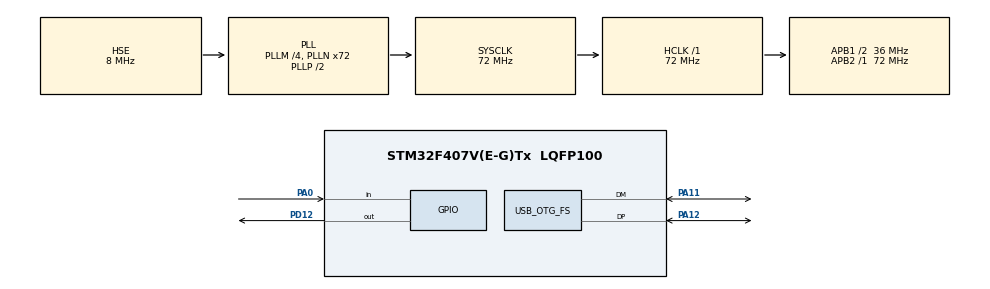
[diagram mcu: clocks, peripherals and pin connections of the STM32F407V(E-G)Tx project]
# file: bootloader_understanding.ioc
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Mcu.Family=STM32F4
Mcu.Name=STM32F407V(E-G)Tx
Mcu.Package=LQFP100
NVIC.OTG_FS_IRQn=true\:0\:0\:false\:false\:true\:false\:true\:true
NVIC.PriorityGroup=NVIC_PRIORITYGROUP_0
PA0-WKUP.Signal=GPIO_Input
PA11.Mode=Device_Only
PA11.Signal=USB_OTG_FS_DM
PA12.Mode=Device_Only
PA12.Signal=USB_OTG_FS_DP
PD12.Signal=GPIO_Output
PH0-OSC_IN.Mode=HSE-External-Oscillator
PH0-OSC_IN.Signal=RCC_OSC_IN
PH1-OSC_OUT.Mode=HSE-External-Oscillator
PH1-OSC_OUT.Signal=RCC_OSC_OUT
ProjectManager.HeapSize=0x200
ProjectManager.StackSize=0x400
ProjectManager.TargetToolchain=STM32CubeIDE
RCC.48MHZClocksFreq_Value=48000000
RCC.AHBFreq_Value=72000000
RCC.APB1CLKDivider=RCC_HCLK_DIV2
RCC.APB1Freq_Value=36000000
RCC.APB1TimFreq_Value=72000000
RCC.APB2Freq_Value=72000000
RCC.APB2TimFreq_Value=72000000
RCC.CortexFreq_Value=72000000
RCC.HCLKFreq_Value=72000000
RCC.HSE_VALUE=8000000
RCC.HSI_VALUE=16000000
RCC.LSE_VALUE=32768
RCC.PLLM=4
RCC.PLLN=72
RCC.PLLQ=3
RCC.SYSCLKFreq_VALUE=72000000
RCC.SYSCLKSource=RCC_SYSCLKSOURCE_PLLCLK
RCC.VCOOutputFreq_Value=144000000
USB_DEVICE.CLASS_NAME_FS=CDC
USB_DEVICE.VirtualMode-CDC_FS=Cdc
USB_DEVICE.VirtualModeFS=Cdc_FS
USB_OTG_FS.VirtualMode=Device_Only
VP_USB_DEVICE_VS_USB_DEVICE_CDC_FS.Mode=CDC_FS
board=STM32F407G-DISC1

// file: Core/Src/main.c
/* USER CODE BEGIN Header */
/**
  ******************************************************************************
  * @file           : main.c
  * @brief          : Main program body
  ******************************************************************************
  * @attention
  *
  * Copyright (c) 2025 STMicroelectronics.
  * All rights reserved.
  *
  * This software is licensed under terms that can be found in the LICENSE file
  * in the root directory of this software component.
  * If no LICENSE file comes with this software, it is provided AS-IS.
  *
  ******************************************************************************
  */
/* USER CODE END Header */
#include "main.h"
#include "usb_device.h"

/* USER CODE BEGIN Includes */
#include "usbd_cdc_if.h"
#include "string.h"
#include "stdio.h"
#include "stdint.h"
#include "etx_ota_update.h"

/* USER CODE END Includes */

/* USER CODE BEGIN PV */
uint8_t rx_buffer[1050];
volatile int flag = 0;
uint8_t len;
extern USBD_HandleTypeDef hUsbDeviceFS;
/* USER CODE END PV */

void SystemClock_Config(void);
static void MX_GPIO_Init(void);
/* USER CODE BEGIN PFP */
static void goto_application(void);
/* USER CODE END PFP */

/* USER CODE BEGIN 0 */
int _write(int file, char *ptr, int len)
{
  /* Implement your write code here, this is used by puts and printf for example */
  int i=0;
  for(i=0 ; i<len ; i++)
    ITM_SendChar((*ptr++));
  return len;
}
/* USER CODE END 0 */

int main(void)
{

  /* MCU Configuration--------------------------------------------------------*/

  /* Reset of all peripherals, Initializes the Flash interface and the Systick. */
  HAL_Init();

  /* Configure the system clock */
  SystemClock_Config();

  /* Initialize all configured peripherals */
  MX_GPIO_Init();
  MX_USB_DEVICE_Init();
  /* USER CODE BEGIN 2 */
  printf("Lets see this from bootloader\n");
  HAL_GPIO_WritePin(GPIOD, GPIO_PIN_12, GPIO_PIN_SET);
  HAL_Delay(2000);
  HAL_GPIO_WritePin(GPIOD, GPIO_PIN_12, GPIO_PIN_RESET);
  HAL_Delay(2000);

  /* Check the GPIO for 3 seconds */
    GPIO_PinState OTA_Pin_state;
    uint32_t end_tick = HAL_GetTick() + 3000;   // from now to 3 Seconds

    printf("Press the User Button PA0 to trigger OTA update...\r\n");
    do
    {
      OTA_Pin_state = HAL_GPIO_ReadPin( GPIOA, GPIO_PIN_0 );
      uint32_t current_tick = HAL_GetTick();

      /* Check the button is pressed or not for 3seconds */
      if( ( OTA_Pin_state != GPIO_PIN_RESET ) || ( current_tick > end_tick ) )
      {
        /* Either timeout or Button is pressed */
        break;
      }
    }while( 1 );

    /*Start the Firmware or Application update */
     if( OTA_Pin_state == GPIO_PIN_SET )
     {
       printf("Starting Firmware Download!!!\r\n");
       /* OTA Request. Receive the data from the UART4 and flash */
       if( etx_ota_download_and_flash() != ETX_OTA_EX_OK )
       {
         /* Error. Don't process. */
         printf("OTA Update : ERROR!!! HALT!!!\r\n");
         while( 1 );
       }
       else
       {
         /* Reset to load the new application */
         printf("Firmware update is done!!! Rebooting...\r\n");
         HAL_NVIC_SystemReset();
       }
     }

  goto_application();
  /* USER CODE END 2 */

  /* Infinite loop */
  while (1)
  {

  }
}

void SystemClock_Config(void)
{
  RCC_OscInitTypeDef RCC_OscInitStruct = {0};
  RCC_ClkInitTypeDef RCC_ClkInitStruct = {0};

  /** Configure the main internal regulator output voltage
  */
  __HAL_RCC_PWR_CLK_ENABLE();
  __HAL_PWR_VOLTAGESCALING_CONFIG(PWR_REGULATOR_VOLTAGE_SCALE1);

  /** Initializes the RCC Oscillators according to the specified parameters
  * in the RCC_OscInitTypeDef structure.
  */
  RCC_OscInitStruct.OscillatorType = RCC_OSCILLATORTYPE_HSE;
  RCC_OscInitStruct.HSEState = RCC_HSE_ON;
  RCC_OscInitStruct.PLL.PLLState = RCC_PLL_ON;
  RCC_OscInitStruct.PLL.PLLSource = RCC_PLLSOURCE_HSE;
  RCC_OscInitStruct.PLL.PLLM = 4;
  RCC_OscInitStruct.PLL.PLLN = 72;
  RCC_OscInitStruct.PLL.PLLP = RCC_PLLP_DIV2;
  RCC_OscInitStruct.PLL.PLLQ = 3;
  if (HAL_RCC_OscConfig(&RCC_OscInitStruct) != HAL_OK)
  {
    Error_Handler();
  }

  /** Initializes the CPU, AHB and APB buses clocks
  */
  RCC_ClkInitStruct.ClockType = RCC_CLOCKTYPE_HCLK|RCC_CLOCKTYPE_SYSCLK
                              |RCC_CLOCKTYPE_PCLK1|RCC_CLOCKTYPE_PCLK2;
  RCC_ClkInitStruct.SYSCLKSource = RCC_SYSCLKSOURCE_PLLCLK;
  RCC_ClkInitStruct.AHBCLKDivider = RCC_SYSCLK_DIV1;
  RCC_ClkInitStruct.APB1CLKDivider = RCC_HCLK_DIV2;
  RCC_ClkInitStruct.APB2CLKDivider = RCC_HCLK_DIV1;

  if (HAL_RCC_ClockConfig(&RCC_ClkInitStruct, FLASH_LATENCY_2) != HAL_OK)
  {
    Error_Handler();
  }
}

static void MX_GPIO_Init(void)
{
  GPIO_InitTypeDef GPIO_InitStruct = {0};

  /* GPIO Ports Clock Enable */
  __HAL_RCC_GPIOH_CLK_ENABLE();
  __HAL_RCC_GPIOA_CLK_ENABLE();
  __HAL_RCC_GPIOD_CLK_ENABLE();

  /*Configure GPIO pin Output Level */
  HAL_GPIO_WritePin(GPIOD, GPIO_PIN_12, GPIO_PIN_RESET);

  /*Configure GPIO pin : PA0 */
  GPIO_InitStruct.Pin = GPIO_PIN_0;
  GPIO_InitStruct.Mode = GPIO_MODE_INPUT;
  GPIO_InitStruct.Pull = GPIO_NOPULL;
  HAL_GPIO_Init(GPIOA, &GPIO_InitStruct);

  /*Configure GPIO pin : PD12 */
  GPIO_InitStruct.Pin = GPIO_PIN_12;
  GPIO_InitStruct.Mode = GPIO_MODE_OUTPUT_PP;
  GPIO_InitStruct.Pull = GPIO_NOPULL;
  GPIO_InitStruct.Speed = GPIO_SPEED_FREQ_LOW;
  HAL_GPIO_Init(GPIOD, &GPIO_InitStruct);

}

/* USER CODE BEGIN 4 */
static void goto_application(void){
	void (*myapp)(void) = (void*) (*(volatile uint32_t*)(0x08040000 + 4));
	printf("Jumping to application\n");

	/* Reset the Clock */
  USBD_DeInit(&hUsbDeviceFS); //Deinit the usb as it is no more needed
  HAL_RCC_DeInit();
  HAL_DeInit();
  __set_MSP(*(volatile uint32_t*) 0x08040000); //setting msp to the application stack
  SysTick->CTRL = 0;
  SysTick->LOAD = 0;
  SysTick->VAL = 0;
	myapp();
}
/* USER CODE END 4 */

void Error_Handler(void)
{
  __disable_irq();
  while (1)
  {
  }
}
